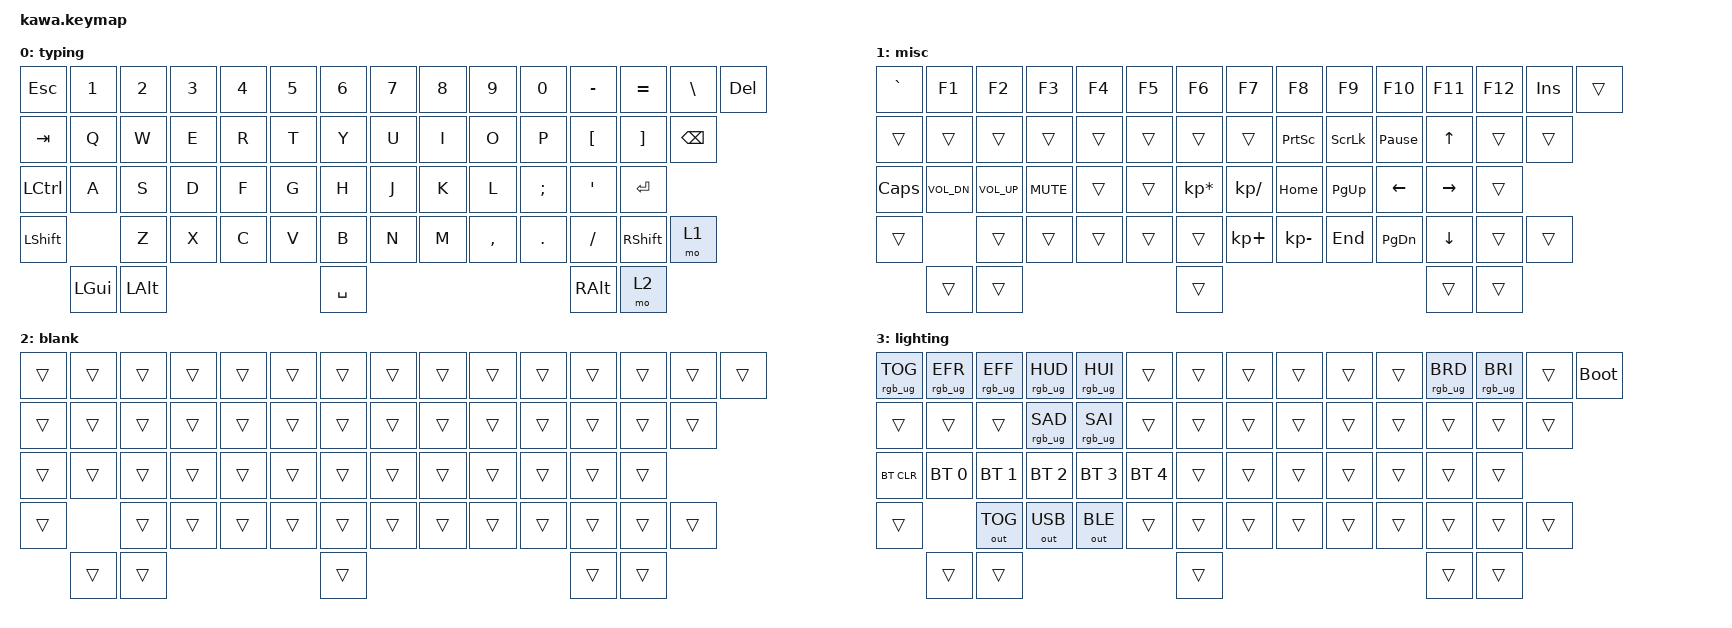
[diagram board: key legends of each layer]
/*
 * Copyright (c) 2022 Ramon Imbao
 *
 * SPDX-License-Identifier: MIT
 */

#include <behaviors.dtsi>
#include <dt-bindings/zmk/bt.h>
#include <dt-bindings/zmk/keys.h>
#include <dt-bindings/zmk/outputs.h>
#include <dt-bindings/zmk/rgb.h>

/ {
    conditional_layers {
        compatible = "zmk,conditional-layers";

        tri_layer {
            if-layers = <1 2>;
            then-layer = <3>;
        };
    };

    keymap {
        compatible = "zmk,keymap";

        typing {
            // -----------------------------------------------------------------------------------------
            //   | ESC   | 1     | 2     | 3     | 4     | 5     | 6     | 7     | 8     | 9     | 0     | -     | =     | \     | DEL   |
            //   | TAB   | Q     | W     | E     | R     | T     | Y     | U     | I     | O     | P     | [     | ]     | BSPC          |
            //   | CTRL  | A     | S     | D     | F     | G     | H     | J     | K     | L     | ;     | '     |         ENTER         |
            //   | SHIFT | Z     | X     | C     | V     | B     | N     | M     | ,     | .     | /     |         SHIFT        | MO(1)  |
            //           | GUI   | ALT   |                 SPACE                                 | ALT   | MO(2)   |

            bindings = <
&kp ESC    &kp N1    &kp N2    &kp N3  &kp N4  &kp N5  &kp N6     &kp N7  &kp N8  &kp N9     &kp N0    &kp MINUS         &kp EQUAL  &kp BSLH  &kp DEL
&kp TAB    &kp Q     &kp W     &kp E   &kp R   &kp T   &kp Y      &kp U   &kp I   &kp O      &kp P     &kp LBKT          &kp RBKT   &kp BSPC
&kp LCTRL  &kp A     &kp S     &kp D   &kp F   &kp G   &kp H      &kp J   &kp K   &kp L      &kp SEMI  &kp SINGLE_QUOTE  &kp ENTER
&kp LSHFT            &kp Z     &kp X   &kp C   &kp V   &kp B      &kp N   &kp M   &kp COMMA  &kp DOT   &kp FSLH          &kp RSHFT  &mo 1
           &kp LGUI  &kp LALT                          &kp SPACE                                       &kp RALT          &mo 2
            >;
        };

        misc {
            // -----------------------------------------------------------------------------------------
            //   | GRAVE | F1    | F2    | F3    | F4    | F5    | F6    | F7    | F8    | F9    | F10   | F11   | F12   | INS    | TRANS  |
            //   | BT_CLR|PROF 0 |PROF 1 |PROF 2 |PROF 3 |PROF 4 | TRANS | TRANS | PRTSCR| SCROLL| PAUSE | UP    | TRANS | TRANS           |
            //   | CAPS  | VOL-  | VOL+  | MUTE  | TRANS | TRANS | *     | /     | HOME  | PGUP  | LEFT  | RIGHT |    TRANS                |
            //   | TRANS | TRANS | TRANS | TRANS | TRANS | TRANS | +     | -     | END   | PGDN  | DOWN  |         TRANS          | TRANS  |
            //           | TRANS | TRANS |                        TRANS                          | TRANS | MO(3) | 

            bindings = <
&kp GRAVE  &kp F1        &kp F2        &kp F3      &kp F4  &kp F5  &kp F6           &kp F7         &kp F8           &kp F9     &kp F10          &kp F11    &kp F12  &kp INS  &trans
&trans     &trans        &trans        &trans      &trans  &trans  &trans           &trans         &kp PSCRN        &kp SLCK   &kp PAUSE_BREAK  &kp UP     &trans   &trans
&kp CAPS   &kp C_VOL_DN  &kp C_VOL_UP  &kp C_MUTE  &trans  &trans  &kp KP_MULTIPLY  &kp KP_DIVIDE  &kp HOME         &kp PG_UP  &kp LEFT         &kp RIGHT  &trans
&trans                   &trans        &trans      &trans  &trans  &trans           &kp KP_PLUS    &kp KP_SUBTRACT  &kp END    &kp PG_DN        &kp DOWN   &trans   &trans
           &trans        &trans                                    &trans                                                                       &trans     &trans
            >;
        };

        blank {
            // Just so you have access to layer 3

            bindings = <
&trans  &trans  &trans  &trans  &trans  &trans  &trans  &trans  &trans  &trans  &trans  &trans  &trans  &trans  &trans
&trans  &trans  &trans  &trans  &trans  &trans  &trans  &trans  &trans  &trans  &trans  &trans  &trans  &trans
&trans  &trans  &trans  &trans  &trans  &trans  &trans  &trans  &trans  &trans  &trans  &trans  &trans
&trans          &trans  &trans  &trans  &trans  &trans  &trans  &trans  &trans  &trans  &trans  &trans  &trans
        &trans  &trans                          &trans                                  &trans  &trans
            >;
        };

        lighting {
            bindings = <
&rgb_ug RGB_TOG  &rgb_ug RGB_EFR  &rgb_ug RGB_EFF  &rgb_ug RGB_HUD  &rgb_ug RGB_HUI  &trans        &trans  &trans  &trans  &trans  &trans  &rgb_ug RGB_BRD  &rgb_ug RGB_BRI  &trans  &bootloader
&trans           &trans           &trans           &rgb_ug RGB_SAD  &rgb_ug RGB_SAI  &trans        &trans  &trans  &trans  &trans  &trans  &trans           &trans           &trans
&bt BT_CLR       &bt BT_SEL 0     &bt BT_SEL 1     &bt BT_SEL 2     &bt BT_SEL 3     &bt BT_SEL 4  &trans  &trans  &trans  &trans  &trans  &trans           &trans
&trans                            &out OUT_TOG     &out OUT_USB     &out OUT_BLE     &trans        &trans  &trans  &trans  &trans  &trans  &trans           &trans           &trans
                 &trans           &trans                                                           &trans                                  &trans           &trans
            >;
        };
    };
};
